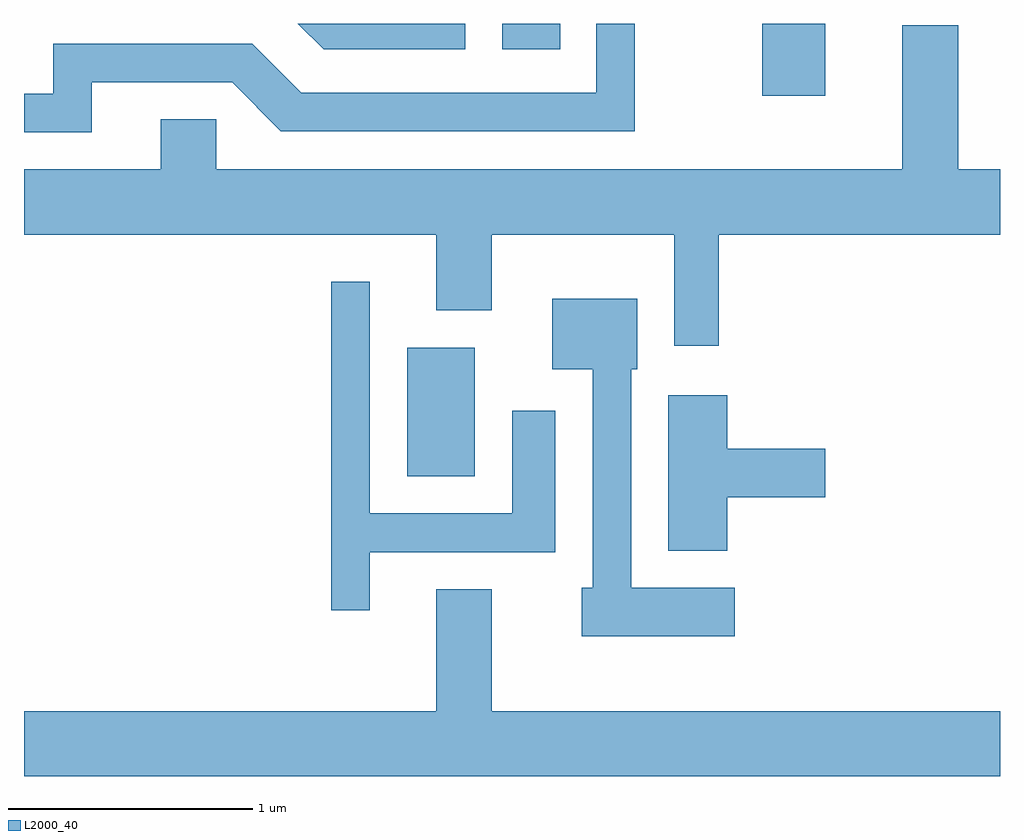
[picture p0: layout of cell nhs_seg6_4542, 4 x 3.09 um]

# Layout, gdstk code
import gdstk
lib = gdstk.Library(unit=1e-6, precision=1e-09)
def R(c, l, rs):  # rectangles x0, y0, x1, y1
    for r in rs: c.add(gdstk.rectangle(r[:2], r[2:], *l))
def P(c, l, *ps):  # polygons
    for p in ps: c.add(gdstk.Polygon(p, *l))
L2000_40 = (2000, 40)

nhs_seg6_4542 = lib.new_cell('nhs_seg6_4542')
R(nhs_seg6_4542, L2000_40, [(325.181,1622.306,325.459,1622.834), (326.636,1623.866,326.894,1624.162), (325.571,1624.056,325.808,1624.162)])
P(nhs_seg6_4542, L2000_40, [(325.419,1624.162),(324.733,1624.162),(324.839,1624.056),(325.419,1624.056)],
  [(323.889,1623.921),(324.464,1623.921),(324.664,1623.721),(326.114,1623.721),(326.114,1624.162),(325.956,1624.162),(325.956,1623.879),(324.747,1623.879),(324.547,1624.079),(323.731,1624.079),(323.731,1623.874),(323.611,1623.874),(323.611,1623.716),(323.889,1623.716)],
  [(326.459,1623.296),(327.611,1623.296),(327.611,1623.564),(327.439,1623.564),(327.439,1624.154),(327.211,1624.154),(327.211,1623.564),(324.399,1623.564),(324.399,1623.769),(324.171,1623.769),(324.171,1623.564),(323.611,1623.564),(323.611,1623.296),(325.301,1623.296),(325.301,1622.986),(325.529,1622.986),(325.529,1623.296),(326.276,1623.296),(326.276,1622.841),(326.459,1622.841)],
  [(325.029,1621.996),(325.789,1621.996),(325.789,1622.574),(325.611,1622.574),(325.611,1622.154),(325.029,1622.154),(325.029,1623.103),(324.871,1623.103),(324.871,1621.758),(325.029,1621.758)],
  [(326.524,1621.849),(326.099,1621.849),(326.099,1622.746),(326.124,1622.746),(326.124,1623.034),(325.776,1623.034),(325.776,1622.746),(325.941,1622.746),(325.941,1621.849),(325.896,1621.849),(325.896,1621.651),(326.524,1621.651)],
  [(326.494,1622.221),(326.894,1622.221),(326.894,1622.419),(326.494,1622.419),(326.494,1622.639),(326.251,1622.639),(326.251,1622.001),(326.494,1622.001)],
  [(327.611,1621.344),(325.529,1621.344),(325.529,1621.844),(325.301,1621.844),(325.301,1621.344),(323.611,1621.344),(323.611,1621.076),(327.611,1621.076)])

lib.write_gds('nhs_seg6_4542.gds')
